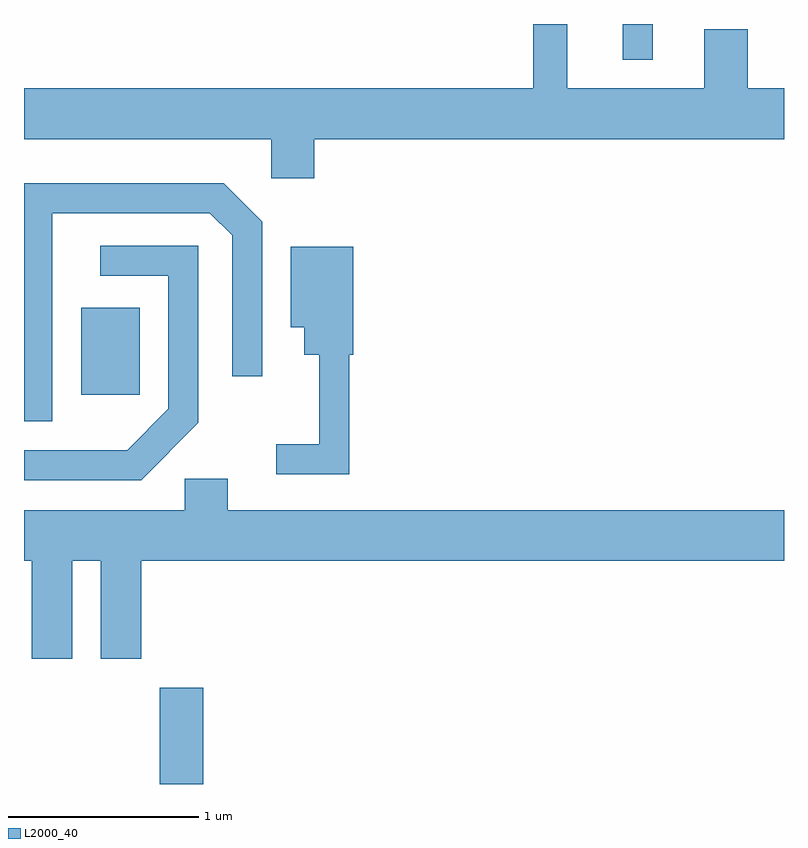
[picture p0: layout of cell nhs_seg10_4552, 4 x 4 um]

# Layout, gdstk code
import gdstk
lib = gdstk.Library(unit=1e-6, precision=1e-09)
def R(c, l, rs):  # rectangles x0, y0, x1, y1
    for r in rs: c.add(gdstk.rectangle(r[:2], r[2:], *l))
def P(c, l, *ps):  # polygons
    for p in ps: c.add(gdstk.Polygon(p, *l))
L2000_40 = (2000, 40)

nhs_seg10_4552 = lib.new_cell('nhs_seg10_4552')
R(nhs_seg10_4552, L2000_40, [(320.326,2110.522,320.554,2111.029), (319.911,2112.571,320.219,2113.029), (322.761,2114.333,322.919,2114.522)])
P(nhs_seg10_4552, L2000_40, [(321.139,2113.916),(323.611,2113.916),(323.611,2114.184),(323.419,2114.184),(323.419,2114.494),(323.191,2114.494),(323.191,2114.184),(322.469,2114.184),(322.469,2114.522),(322.291,2114.522),(322.291,2114.184),(319.611,2114.184),(319.611,2113.916),(320.911,2113.916),(320.911,2113.711),(321.139,2113.711)],
  [(319.759,2113.526),(320.589,2113.526),(320.706,2113.409),(320.706,2112.668),(320.864,2112.668),(320.864,2113.482),(320.662,2113.684),(319.611,2113.684),(319.611,2112.431),(319.759,2112.431)],
  [(320.529,2112.424),(320.529,2113.354),(320.013,2113.354),(320.013,2113.196),(320.371,2113.196),(320.371,2112.497),(320.154,2112.279),(319.611,2112.279),(319.611,2112.121),(320.227,2112.121)],
  [(321.324,2112.781),(321.344,2112.781),(321.344,2113.349),(321.016,2113.349),(321.016,2112.926),(321.086,2112.926),(321.086,2112.781),(321.166,2112.781),(321.166,2112.309),(320.938,2112.309),(320.938,2112.151),(321.324,2112.151)],
  [(319.864,2111.696),(320.016,2111.696),(320.016,2111.181),(320.229,2111.181),(320.229,2111.696),(323.611,2111.696),(323.611,2111.964),(320.684,2111.964),(320.684,2112.129),(320.456,2112.129),(320.456,2111.964),(319.611,2111.964),(319.611,2111.696),(319.651,2111.696),(319.651,2111.181),(319.864,2111.181)])

lib.write_gds('nhs_seg10_4552.gds')
